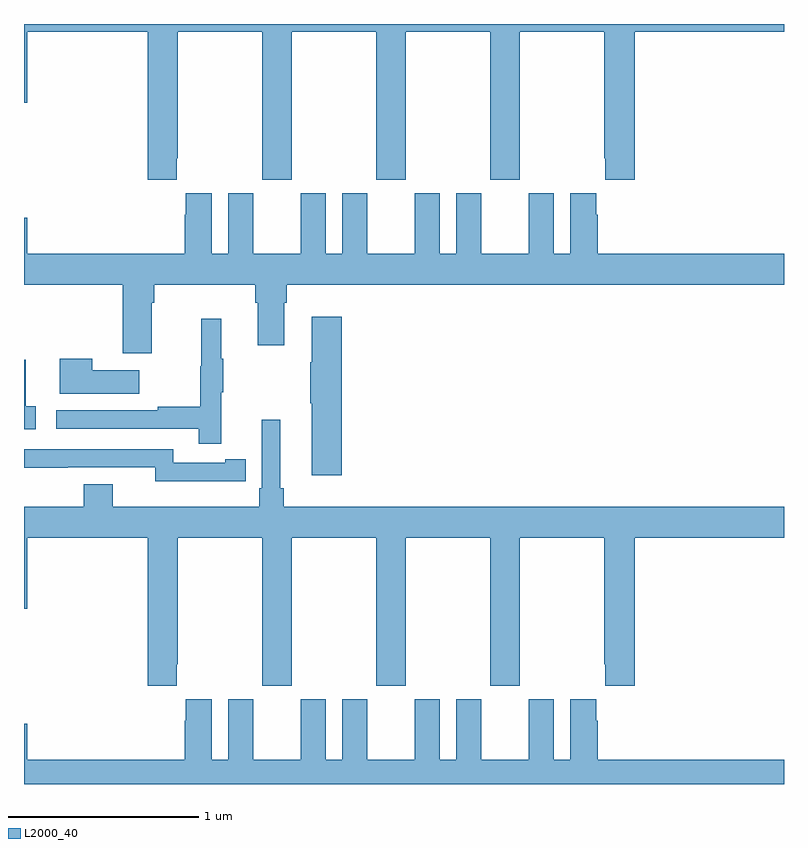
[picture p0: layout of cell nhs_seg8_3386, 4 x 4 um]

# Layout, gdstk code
import gdstk
lib = gdstk.Library(unit=1e-6, precision=1e-09)
def P(c, l, *ps):  # polygons
    for p in ps: c.add(gdstk.Polygon(p, *l))
L2000_40 = (2000, 40)

nhs_seg8_3386 = lib.new_cell('nhs_seg8_3386')
P(nhs_seg8_3386, L2000_40, [(321.805,1089.193),(321.81,1089.193),(321.81,1089.86),(322.255,1089.86),(322.255,1089.081),(322.41,1089.081),(322.41,1089.86),(322.855,1089.86),(322.855,1089.081),(323.01,1089.081),(323.01,1089.86),(323.455,1089.86),(323.455,1089.081),(323.61,1089.081),(323.61,1089.86),(324.055,1089.86),(324.055,1089.193),(324.059,1089.193),(324.059,1089.081),(324.215,1089.081),(324.215,1089.86),(325,1089.86),(325,1089.9),(321,1089.9),(321,1089.486),(321.016,1089.486),(321.016,1089.86),(321.65,1089.86),(321.65,1089.081),(321.805,1089.081)],
  [(321.673,1088.432),(321.686,1088.432),(321.686,1088.528),(322.217,1088.528),(322.217,1088.432),(322.229,1088.432),(322.229,1088.208),(322.369,1088.208),(322.369,1088.432),(322.382,1088.432),(322.382,1088.528),(325,1088.528),(325,1088.692),(324.02,1088.692),(324.02,1088.897),(324.013,1088.897),(324.013,1089.01),(323.876,1089.01),(323.876,1088.692),(323.788,1088.692),(323.788,1089.01),(323.657,1089.01),(323.657,1088.692),(323.407,1088.692),(323.407,1089.01),(323.276,1089.01),(323.276,1088.692),(323.188,1088.692),(323.188,1089.01),(323.057,1089.01),(323.057,1088.692),(322.807,1088.692),(322.807,1089.01),(322.676,1089.01),(322.676,1088.692),(322.588,1088.692),(322.588,1089.01),(322.457,1089.01),(322.457,1088.692),(322.207,1088.692),(322.207,1089.01),(322.076,1089.01),(322.076,1088.692),(321.988,1088.692),(321.988,1089.01),(321.851,1089.01),(321.851,1088.897),(321.845,1088.897),(321.845,1088.692),(321.016,1088.692),(321.016,1088.881),(321,1088.881),(321,1088.528),(321.521,1088.528),(321.521,1088.166),(321.673,1088.166)],
  [(322.673,1088.359),(322.514,1088.359),(322.514,1088.12),(322.507,1088.12),(322.507,1087.903),(322.514,1087.903),(322.514,1087.524),(322.673,1087.524)],
  [(322.037,1087.963),(322.048,1087.963),(322.048,1088.137),(322.037,1088.137),(322.037,1088.35),(321.934,1088.35),(321.934,1088.1),(321.927,1088.1),(321.927,1087.886),(321.703,1087.886),(321.703,1087.866),(321.171,1087.866),(321.171,1087.77),(321.919,1087.77),(321.919,1087.692),(322.037,1087.692)],
  [(321.607,1088.077),(321.359,1088.077),(321.359,1088.137),(321.188,1088.137),(321.188,1087.955),(321.607,1087.955)],
  [(321.061,1087.887),(321.008,1087.887),(321.008,1088.134),(321,1088.134),(321,1087.767),(321.061,1087.767)],
  [(321.805,1086.529),(321.81,1086.529),(321.81,1087.196),(322.255,1087.196),(322.255,1086.417),(322.41,1086.417),(322.41,1087.196),(322.855,1087.196),(322.855,1086.417),(323.01,1086.417),(323.01,1087.196),(323.455,1087.196),(323.455,1086.417),(323.61,1086.417),(323.61,1087.196),(324.055,1087.196),(324.055,1086.529),(324.059,1086.529),(324.059,1086.417),(324.215,1086.417),(324.215,1087.196),(325,1087.196),(325,1087.36),(322.367,1087.36),(322.367,1087.456),(322.348,1087.456),(322.348,1087.816),(322.251,1087.816),(322.251,1087.456),(322.238,1087.456),(322.238,1087.36),(321.466,1087.36),(321.466,1087.477),(321.314,1087.477),(321.314,1087.36),(321,1087.36),(321,1086.822),(321.016,1086.822),(321.016,1087.196),(321.65,1087.196),(321.65,1086.417),(321.805,1086.417)],
  [(322.058,1087.494),(322.166,1087.494),(322.166,1087.61),(322.058,1087.61),(322.058,1087.59),(321.786,1087.59),(321.786,1087.662),(321,1087.662),(321,1087.565),(321.23,1087.565),(321.23,1087.566),(321.69,1087.566),(321.69,1087.493),(322.058,1087.493)],
  [(325,1086.028),(324.02,1086.028),(324.02,1086.233),(324.013,1086.233),(324.013,1086.346),(323.876,1086.346),(323.876,1086.028),(323.788,1086.028),(323.788,1086.346),(323.657,1086.346),(323.657,1086.028),(323.407,1086.028),(323.407,1086.346),(323.276,1086.346),(323.276,1086.028),(323.188,1086.028),(323.188,1086.346),(323.057,1086.346),(323.057,1086.028),(322.807,1086.028),(322.807,1086.346),(322.676,1086.346),(322.676,1086.028),(322.588,1086.028),(322.588,1086.346),(322.457,1086.346),(322.457,1086.028),(322.207,1086.028),(322.207,1086.346),(322.076,1086.346),(322.076,1086.028),(321.988,1086.028),(321.988,1086.346),(321.851,1086.346),(321.851,1086.233),(321.845,1086.233),(321.845,1086.028),(321.016,1086.028),(321.016,1086.217),(321,1086.217),(321,1085.9),(325,1085.9)])

lib.write_gds('nhs_seg8_3386.gds')
